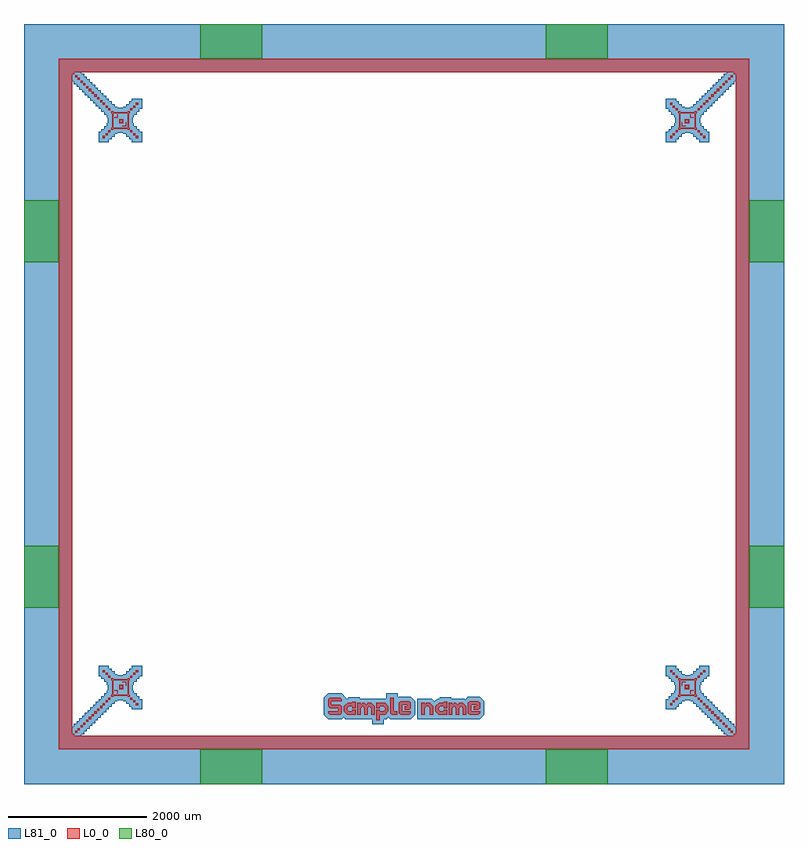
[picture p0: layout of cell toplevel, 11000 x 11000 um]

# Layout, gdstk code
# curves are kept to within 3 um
from math import pi, radians
import gdstk
lib = gdstk.Library(unit=1e-6, precision=1e-09)
def R(c, l, rs):  # rectangles x0, y0, x1, y1
    for r in rs: c.add(gdstk.rectangle(r[:2], r[2:], *l))
def P(c, l, *ps):  # polygons
    for p in ps: c.add(gdstk.Polygon(p, *l))
L0_0 = (0, 0)
L80_0 = (80, 0)
L81_0 = (81, 0)

rectangle = lib.new_cell('rectangle')
R(rectangle, L80_0, [(0,0,900,500)])

pcb_pad = lib.new_cell('PCB pad')
pcb_pad.add(gdstk.Reference(rectangle, (-500,2950), rotation=3*pi/2))

rectangle003 = lib.new_cell('rectangle003')
R(rectangle003, L80_0, [(0,0,900,500)])

pcb_pad002 = lib.new_cell('PCB pad002')
pcb_pad002.add(gdstk.Reference(rectangle003, (2050,-500)))

rectangle005 = lib.new_cell('rectangle005')
R(rectangle005, L80_0, [(0,0,900,500)])

pcb_pad004 = lib.new_cell('PCB pad004')
pcb_pad004.add(gdstk.Reference(rectangle005, (7050,-500)))

rectangle007 = lib.new_cell('rectangle007')
R(rectangle007, L80_0, [(0,0,900,500)])

pcb_pad006 = lib.new_cell('PCB pad006')
pcb_pad006.add(gdstk.Reference(rectangle007, (10500,2050), rotation=pi/2))

rectangle009 = lib.new_cell('rectangle009')
R(rectangle009, L80_0, [(0,0,900,500)])

pcb_pad008 = lib.new_cell('PCB pad008')
pcb_pad008.add(gdstk.Reference(rectangle009, (10500,7050), rotation=pi/2))

rectangle011 = lib.new_cell('rectangle011')
R(rectangle011, L80_0, [(0,0,900,500)])

pcb_pad010 = lib.new_cell('PCB pad010')
pcb_pad010.add(gdstk.Reference(rectangle011, (7950,10500), rotation=pi))

rectangle013 = lib.new_cell('rectangle013')
R(rectangle013, L80_0, [(0,0,900,500)])

pcb_pad012 = lib.new_cell('PCB pad012')
pcb_pad012.add(gdstk.Reference(rectangle013, (2950,10500), rotation=pi))

rectangle015 = lib.new_cell('rectangle015')
R(rectangle015, L80_0, [(0,0,900,500)])

pcb_pad014 = lib.new_cell('PCB pad014')
pcb_pad014.add(gdstk.Reference(rectangle015, (-500,7950), rotation=3*pi/2))

text = lib.new_cell('text')
P(text, L0_0, [(-900,200),(-1050,200),(-1050,150),(-925,150),(-900,125),(-900,25),(-925,0),(-1075,0),(-1100,25),(-1100,50),(-950,50),(-950,100),(-1075,100),(-1100,125),(-1100,225),(-1075,250),(-925,250),(-900,225)],
  [(-700,0),(-825,0),(-875,50),(-875,125),(-816.5,175),(-750,175),(-750,193.75),(-700,193.75),(-700,100),(-750,100),(-750,125),(-800,125),(-825,100),(-825,75),(-800,50),(-750,50),(-750,75),(-700,75)],
  [(-575,100),(-600,125),(-625,100),(-625,0),(-675,0),(-675,175),(-625,175),(-625,150),(-600,175),(-575,175),(-550,150),(-525,175),(-475,175),(-425,125),(-425,0),(-475,0),(-475,100),(-500,125),(-525,100),(-525,0),(-575,0)],
  [(-400,175),(-275,175),(-225,125),(-225,50),(-275,0),(-350,0),(-350,-75),(-400,-75),(-400,75),(-350,75),(-350,50),(-300,50),(-275,75),(-275,100),(-300,125),(-350,125),(-350,100),(-400,100)],
  [(-100,0),(-175,0),(-200,25),(-200,250),(-150,250),(-150,50),(-100,50),(-100,0)],
  [(-50,0),(-75,25),(-75,175),(-50,200),(75,200),(100,175),(100,100),(75,75),(10,75),(10,125),(50,125),(50,150),(-25,150),(-25,50),(100,50),(100,25),(75,0)],
  [(375,0),(375,100),(350,125),(325,125),(300,100),(300,0),(250,0),(250,175),(300,175),(300,150),(325,175),(375,175),(425,125),(425,0)],
  [(625,0),(500,0),(450,50),(450,125),(508.5,175),(575,175),(575,193.75),(625,193.75),(625,100),(575,100),(575,125),(525,125),(500,100),(500,75),(525,50),(575,50),(575,75),(625,75)],
  [(750,100),(725,125),(700,100),(700,0),(650,0),(650,175),(700,175),(700,150),(725,175),(750,175),(775,150),(800,175),(850,175),(900,125),(900,0),(850,0),(850,100),(825,125),(800,100),(800,0),(750,0)],
  [(950,0),(925,25),(925,175),(950,200),(1075,200),(1100,175),(1100,100),(1075,75),(1010,75),(1010,125),(1050,125),(1050,150),(975,150),(975,50),(1100,50),(1100,25),(1075,0)])

offset = lib.new_cell('offset')
P(offset, L81_0, [(5160,500.147),(5160,699.853),(5099.853,760),(4925.147,760),(4910,744.853),(4910,810),(4740,810),(4740,735),(4360,735),(4360,753.75),(4190,753.75),(4190,735),(4160,733.844),(4160,749.853),(4099.853,810),(3900.147,810),(3840,749.853),(3840,500.147),(3900.147,440),(4099.853,440),(4125,465.147),(4150.147,440),(4540,440),(4540,365),(4710,365),(4710,440),(4749.853,440),(4775,465.147),(4800.147,440),(5099.853,440)],
  [(6099.853,760),(5925.147,760),(5887.5,722.353),(5874.853,735),(5685,735),(5685,753.75),(5515,753.75),(5515,735),(5486.353,735),(5439.714,695.138),(5399.853,735),(5190,735),(5190,440),(6099.853,440),(6160,500.147),(6160,699.853)])

sample_name = lib.new_cell('Sample name')
sample_name.add(gdstk.Reference(text, (5000,500)))
sample_name.add(gdstk.Reference(offset, (0,0)))

boolean = lib.new_cell('boolean')
P(boolean, L0_0, [(5000,5000),(-5000,5000),(-5000,-4800),(-4800,-4800),(-4800,4800),(4800,4800),(4800,-4800),(-4800,-4800),(-5000,-4800),(-5000,-5000),(5000,-5000)])

boolean016 = lib.new_cell('boolean016')
P(boolean016, L81_0, [(5500,5500),(-5500,5500),(-5500,-4800),(-4800,-4800),(-4800,4800),(4800,4800),(4800,-4800),(-4800,-4800),(-5500,-4800),(-5500,-5500),(5500,-5500)])

dicing_reference = lib.new_cell('Dicing reference')
dicing_reference.add(gdstk.Reference(boolean, (0,0)))
dicing_reference.add(gdstk.Reference(boolean016, (0,0)))

rectangle017 = lib.new_cell('rectangle017')
R(rectangle017, L0_0, [(0,0,30,30)])

rectangle018 = lib.new_cell('rectangle018')
R(rectangle018, L0_0, [(40,40,70,70)])

rectangle019 = lib.new_cell('rectangle019')
R(rectangle019, L0_0, [(80,80,110,110)])

rectangle020 = lib.new_cell('rectangle020')
R(rectangle020, L0_0, [(120,120,150,150)])

rectangle021 = lib.new_cell('rectangle021')
R(rectangle021, L0_0, [(160,160,190,190)])

rectangle022 = lib.new_cell('rectangle022')
R(rectangle022, L0_0, [(200,200,230,230)])

rectangle023 = lib.new_cell('rectangle023')
R(rectangle023, L0_0, [(240,240,270,270)])

rectangle024 = lib.new_cell('rectangle024')
R(rectangle024, L0_0, [(280,280,310,310)])

rectangle025 = lib.new_cell('rectangle025')
R(rectangle025, L0_0, [(320,320,350,350)])

rectangle026 = lib.new_cell('rectangle026')
R(rectangle026, L0_0, [(360,360,390,390)])

rectangle027 = lib.new_cell('rectangle027')
R(rectangle027, L0_0, [(400,400,430,430)])

rectangle028 = lib.new_cell('rectangle028')
R(rectangle028, L0_0, [(440,440,470,470)])

rectangle029 = lib.new_cell('rectangle029')
R(rectangle029, L0_0, [(480,480,510,510)])

rectangle030 = lib.new_cell('rectangle030')
R(rectangle030, L0_0, [(520,520,550,550)])

rectangle031 = lib.new_cell('rectangle031')
R(rectangle031, L0_0, [(560,560,590,590)])

rectangle032 = lib.new_cell('rectangle032')
R(rectangle032, L0_0, [(800,800,830,830)])

rectangle033 = lib.new_cell('rectangle033')
R(rectangle033, L0_0, [(840,840,870,870)])

rectangle034 = lib.new_cell('rectangle034')
R(rectangle034, L0_0, [(880,880,910,910)])

rectangle035 = lib.new_cell('rectangle035')
R(rectangle035, L0_0, [(920,920,950,950)])

rectangle036 = lib.new_cell('rectangle036')
R(rectangle036, L0_0, [(800,800,830,830)])

rectangle037 = lib.new_cell('rectangle037')
R(rectangle037, L0_0, [(840,840,870,870)])

rectangle038 = lib.new_cell('rectangle038')
R(rectangle038, L0_0, [(880,880,910,910)])

rectangle039 = lib.new_cell('rectangle039')
R(rectangle039, L0_0, [(920,920,950,950)])

rectangle040 = lib.new_cell('rectangle040')
R(rectangle040, L0_0, [(800,560,830,590)])

rectangle041 = lib.new_cell('rectangle041')
R(rectangle041, L0_0, [(840,520,870,550)])

rectangle042 = lib.new_cell('rectangle042')
R(rectangle042, L0_0, [(880,480,910,510)])

rectangle043 = lib.new_cell('rectangle043')
R(rectangle043, L0_0, [(920,440,950,470)])

rectangle044 = lib.new_cell('rectangle044')
R(rectangle044, L0_0, [(560,800,590,830)])

rectangle045 = lib.new_cell('rectangle045')
R(rectangle045, L0_0, [(520,840,550,870)])

rectangle046 = lib.new_cell('rectangle046')
R(rectangle046, L0_0, [(480,880,510,910)])

rectangle047 = lib.new_cell('rectangle047')
R(rectangle047, L0_0, [(440,920,470,950)])

boolean048 = lib.new_cell('boolean048')
P(boolean048, L0_0, [(815,815),(575,815),(575,590),(590,590),(590,800),(800,800),(800,590),(590,590),(575,590),(575,575),(815,575)])

rectangle050 = lib.new_cell('rectangle050')

rectangle051 = lib.new_cell('rectangle051')

union = lib.new_cell('union')
P(union, L0_0, [(0.75,-0.75),(6,-0.75),(6,0.75),(0.75,0.75),(0.75,6),(-0.75,6),(-0.75,0.75),(-6,0.75),(-6,-0.75),(-0.75,-0.75),(-0.75,-6),(0.75,-6)])

alignment_cross = lib.new_cell('Alignment Cross')
alignment_cross.add(gdstk.Reference(rectangle050, (709.25,704)))
alignment_cross.add(gdstk.Reference(rectangle051, (704,709.25)))
alignment_cross.add(gdstk.Reference(union, (710,710)))

boolean049 = lib.new_cell('boolean049')
P(boolean049, L0_0, [(735,735),(675,735),(675,685),(685,685),(685,695),(695,695),(695,725),(725,725),(725,695),(695,695),(685,695),(695,695),(695,685),(685,685),(675,685),(675,675),(735,675)])
boolean049.add(gdstk.Reference(alignment_cross, (0,0)))

c_l = lib.new_cell('L')
P(c_l, L0_0, [(780,780),(725,780),(725,770),(770,770),(770,725),(780,725),(780,780)])

l052 = lib.new_cell('L052')
P(l052, L0_0, [(660,660),(605,660),(605,650),(650,650),(650,605),(660,605),(660,660)])

offset053 = lib.new_cell('offset053')
P(offset053, L81_0, [(90,-20),(130,-20),(130,20),(170,20),(170,60),(210,60),(210,100),(250,100),(250,140),(290,140),(290,180),(330,180),(330,220),(370,220),(370,260),(410,260),(410,300),(450,300),(450,340),(490,340),(490,380),(530,380),(530,420),(570,420),(570,460),(610,460),(610,500),(650,500),(650,515),(740,515),(740,500),(780,500),(780,460),(820,460),(820,420),(860,420),(860,380),(1010,380),(1010,530),(970,530),(970,570),(930,570),(930,610),(890,610),(890,650),(875,650),(875,740),(890,740),(890,780),(930,780),(930,820),(970,820),(970,860),(1010,860),(1010,1010),(860,1010),(860,970),(820,970),(820,930),(780,930),(780,890),(740,890),(740,875),(650,875),(650,890),(610,890),(610,930),(570,930),(570,970),(530,970),(530,1010),(380,1010),(380,860),(420,860),(420,820),(460,820),(460,780),(500,780),(500,740),(515,740),(515,650),(500,650),(500,610),(460,610),(460,570),(420,570),(420,530),(380,530),(380,490),(340,490),(340,450),(300,450),(300,410),(260,410),(260,370),(220,370),(220,330),(180,330),(180,290),(140,290),(140,250),(100,250),(100,210),(60,210),(60,170),(20,170),(20,130),(-20,130),(-20,90),(-60,90),(-60,-60),(90,-60)])

corner_mark = lib.new_cell('Corner mark')
corner_mark.add(gdstk.Reference(rectangle017, (-4800,-4800)))
corner_mark.add(gdstk.Reference(rectangle018, (-4800,-4800)))
corner_mark.add(gdstk.Reference(rectangle019, (-4800,-4800)))
corner_mark.add(gdstk.Reference(rectangle020, (-4800,-4800)))
corner_mark.add(gdstk.Reference(rectangle021, (-4800,-4800)))
corner_mark.add(gdstk.Reference(rectangle022, (-4800,-4800)))
corner_mark.add(gdstk.Reference(rectangle023, (-4800,-4800)))
corner_mark.add(gdstk.Reference(rectangle024, (-4800,-4800)))
corner_mark.add(gdstk.Reference(rectangle025, (-4800,-4800)))
corner_mark.add(gdstk.Reference(rectangle026, (-4800,-4800)))
corner_mark.add(gdstk.Reference(rectangle027, (-4800,-4800)))
corner_mark.add(gdstk.Reference(rectangle028, (-4800,-4800)))
corner_mark.add(gdstk.Reference(rectangle029, (-4800,-4800)))
corner_mark.add(gdstk.Reference(rectangle030, (-4800,-4800)))
corner_mark.add(gdstk.Reference(rectangle031, (-4800,-4800)))
corner_mark.add(gdstk.Reference(rectangle032, (-4800,-4800)))
corner_mark.add(gdstk.Reference(rectangle033, (-4800,-4800)))
corner_mark.add(gdstk.Reference(rectangle034, (-4800,-4800)))
corner_mark.add(gdstk.Reference(rectangle035, (-4800,-4800)))
corner_mark.add(gdstk.Reference(rectangle036, (-4800,-4800)))
corner_mark.add(gdstk.Reference(rectangle037, (-4800,-4800)))
corner_mark.add(gdstk.Reference(rectangle038, (-4800,-4800)))
corner_mark.add(gdstk.Reference(rectangle039, (-4800,-4800)))
corner_mark.add(gdstk.Reference(rectangle040, (-4800,-4800)))
corner_mark.add(gdstk.Reference(rectangle041, (-4800,-4800)))
corner_mark.add(gdstk.Reference(rectangle042, (-4800,-4800)))
corner_mark.add(gdstk.Reference(rectangle043, (-4800,-4800)))
corner_mark.add(gdstk.Reference(rectangle044, (-4800,-4800)))
corner_mark.add(gdstk.Reference(rectangle045, (-4800,-4800)))
corner_mark.add(gdstk.Reference(rectangle046, (-4800,-4800)))
corner_mark.add(gdstk.Reference(rectangle047, (-4800,-4800)))
corner_mark.add(gdstk.Reference(boolean048, (-4800,-4800)))
corner_mark.add(gdstk.Reference(boolean049, (-4800,-4800)))
corner_mark.add(gdstk.Reference(c_l, (-4800,-4800)))
corner_mark.add(gdstk.Reference(l052, (-4800,-4800)))
corner_mark.add(gdstk.Reference(offset053, (-4800,-4800)))

rectangle055 = lib.new_cell('rectangle055')
R(rectangle055, L0_0, [(0,0,30,30)])

rectangle056 = lib.new_cell('rectangle056')
R(rectangle056, L0_0, [(40,40,70,70)])

rectangle057 = lib.new_cell('rectangle057')
R(rectangle057, L0_0, [(80,80,110,110)])

rectangle058 = lib.new_cell('rectangle058')
R(rectangle058, L0_0, [(120,120,150,150)])

rectangle059 = lib.new_cell('rectangle059')
R(rectangle059, L0_0, [(160,160,190,190)])

rectangle060 = lib.new_cell('rectangle060')
R(rectangle060, L0_0, [(200,200,230,230)])

rectangle061 = lib.new_cell('rectangle061')
R(rectangle061, L0_0, [(240,240,270,270)])

rectangle062 = lib.new_cell('rectangle062')
R(rectangle062, L0_0, [(280,280,310,310)])

rectangle063 = lib.new_cell('rectangle063')
R(rectangle063, L0_0, [(320,320,350,350)])

rectangle064 = lib.new_cell('rectangle064')
R(rectangle064, L0_0, [(360,360,390,390)])

rectangle065 = lib.new_cell('rectangle065')
R(rectangle065, L0_0, [(400,400,430,430)])

rectangle066 = lib.new_cell('rectangle066')
R(rectangle066, L0_0, [(440,440,470,470)])

rectangle067 = lib.new_cell('rectangle067')
R(rectangle067, L0_0, [(480,480,510,510)])

rectangle068 = lib.new_cell('rectangle068')
R(rectangle068, L0_0, [(520,520,550,550)])

rectangle069 = lib.new_cell('rectangle069')
R(rectangle069, L0_0, [(560,560,590,590)])

rectangle070 = lib.new_cell('rectangle070')
R(rectangle070, L0_0, [(800,800,830,830)])

rectangle071 = lib.new_cell('rectangle071')
R(rectangle071, L0_0, [(840,840,870,870)])

rectangle072 = lib.new_cell('rectangle072')
R(rectangle072, L0_0, [(880,880,910,910)])

rectangle073 = lib.new_cell('rectangle073')
R(rectangle073, L0_0, [(920,920,950,950)])

rectangle074 = lib.new_cell('rectangle074')
R(rectangle074, L0_0, [(800,800,830,830)])

rectangle075 = lib.new_cell('rectangle075')
R(rectangle075, L0_0, [(840,840,870,870)])

rectangle076 = lib.new_cell('rectangle076')
R(rectangle076, L0_0, [(880,880,910,910)])

rectangle077 = lib.new_cell('rectangle077')
R(rectangle077, L0_0, [(920,920,950,950)])

rectangle078 = lib.new_cell('rectangle078')
R(rectangle078, L0_0, [(800,560,830,590)])

rectangle079 = lib.new_cell('rectangle079')
R(rectangle079, L0_0, [(840,520,870,550)])

rectangle080 = lib.new_cell('rectangle080')
R(rectangle080, L0_0, [(880,480,910,510)])

rectangle081 = lib.new_cell('rectangle081')
R(rectangle081, L0_0, [(920,440,950,470)])

rectangle082 = lib.new_cell('rectangle082')
R(rectangle082, L0_0, [(560,800,590,830)])

rectangle083 = lib.new_cell('rectangle083')
R(rectangle083, L0_0, [(520,840,550,870)])

rectangle084 = lib.new_cell('rectangle084')
R(rectangle084, L0_0, [(480,880,510,910)])

rectangle085 = lib.new_cell('rectangle085')
R(rectangle085, L0_0, [(440,920,470,950)])

boolean086 = lib.new_cell('boolean086')
P(boolean086, L0_0, [(815,815),(575,815),(575,590),(590,590),(590,800),(800,800),(800,590),(590,590),(575,590),(575,575),(815,575)])

rectangle089 = lib.new_cell('rectangle089')

rectangle090 = lib.new_cell('rectangle090')

union091 = lib.new_cell('union091')
P(union091, L0_0, [(0.75,-0.75),(6,-0.75),(6,0.75),(0.75,0.75),(0.75,6),(-0.75,6),(-0.75,0.75),(-6,0.75),(-6,-0.75),(-0.75,-0.75),(-0.75,-6),(0.75,-6)])

alignment_cross088 = lib.new_cell('Alignment Cross088')
alignment_cross088.add(gdstk.Reference(rectangle089, (709.25,704)))
alignment_cross088.add(gdstk.Reference(rectangle090, (704,709.25)))
alignment_cross088.add(gdstk.Reference(union091, (710,710)))

boolean087 = lib.new_cell('boolean087')
P(boolean087, L0_0, [(735,735),(675,735),(675,685),(685,685),(685,695),(695,695),(695,725),(725,725),(725,695),(695,695),(685,695),(695,695),(695,685),(685,685),(675,685),(675,675),(735,675)])
boolean087.add(gdstk.Reference(alignment_cross088, (0,0)))

l092 = lib.new_cell('L092')
P(l092, L0_0, [(780,780),(725,780),(725,770),(770,770),(770,725),(780,725),(780,780)])

l093 = lib.new_cell('L093')
P(l093, L0_0, [(660,660),(605,660),(605,650),(650,650),(650,605),(660,605),(660,660)])

offset094 = lib.new_cell('offset094')
P(offset094, L81_0, [(90,-20),(130,-20),(130,20),(170,20),(170,60),(210,60),(210,100),(250,100),(250,140),(290,140),(290,180),(330,180),(330,220),(370,220),(370,260),(410,260),(410,300),(450,300),(450,340),(490,340),(490,380),(530,380),(530,420),(570,420),(570,460),(610,460),(610,500),(650,500),(650,515),(740,515),(740,500),(780,500),(780,460),(820,460),(820,420),(860,420),(860,380),(1010,380),(1010,530),(970,530),(970,570),(930,570),(930,610),(890,610),(890,650),(875,650),(875,740),(890,740),(890,780),(930,780),(930,820),(970,820),(970,860),(1010,860),(1010,1010),(860,1010),(860,970),(820,970),(820,930),(780,930),(780,890),(740,890),(740,875),(650,875),(650,890),(610,890),(610,930),(570,930),(570,970),(530,970),(530,1010),(380,1010),(380,860),(420,860),(420,820),(460,820),(460,780),(500,780),(500,740),(515,740),(515,650),(500,650),(500,610),(460,610),(460,570),(420,570),(420,530),(380,530),(380,490),(340,490),(340,450),(300,450),(300,410),(260,410),(260,370),(220,370),(220,330),(180,330),(180,290),(140,290),(140,250),(100,250),(100,210),(60,210),(60,170),(20,170),(20,130),(-20,130),(-20,90),(-60,90),(-60,-60),(90,-60)])

corner_mark054 = lib.new_cell('Corner mark054')
corner_mark054.add(gdstk.Reference(rectangle055, (4800,-4800), rotation=pi, x_reflection=True))
corner_mark054.add(gdstk.Reference(rectangle056, (4800,-4800), rotation=pi, x_reflection=True))
corner_mark054.add(gdstk.Reference(rectangle057, (4800,-4800), rotation=pi, x_reflection=True))
corner_mark054.add(gdstk.Reference(rectangle058, (4800,-4800), rotation=pi, x_reflection=True))
corner_mark054.add(gdstk.Reference(rectangle059, (4800,-4800), rotation=pi, x_reflection=True))
corner_mark054.add(gdstk.Reference(rectangle060, (4800,-4800), rotation=pi, x_reflection=True))
corner_mark054.add(gdstk.Reference(rectangle061, (4800,-4800), rotation=pi, x_reflection=True))
corner_mark054.add(gdstk.Reference(rectangle062, (4800,-4800), rotation=pi, x_reflection=True))
corner_mark054.add(gdstk.Reference(rectangle063, (4800,-4800), rotation=pi, x_reflection=True))
corner_mark054.add(gdstk.Reference(rectangle064, (4800,-4800), rotation=pi, x_reflection=True))
corner_mark054.add(gdstk.Reference(rectangle065, (4800,-4800), rotation=pi, x_reflection=True))
corner_mark054.add(gdstk.Reference(rectangle066, (4800,-4800), rotation=pi, x_reflection=True))
corner_mark054.add(gdstk.Reference(rectangle067, (4800,-4800), rotation=pi, x_reflection=True))
corner_mark054.add(gdstk.Reference(rectangle068, (4800,-4800), rotation=pi, x_reflection=True))
corner_mark054.add(gdstk.Reference(rectangle069, (4800,-4800), rotation=pi, x_reflection=True))
corner_mark054.add(gdstk.Reference(rectangle070, (4800,-4800), rotation=pi, x_reflection=True))
corner_mark054.add(gdstk.Reference(rectangle071, (4800,-4800), rotation=pi, x_reflection=True))
corner_mark054.add(gdstk.Reference(rectangle072, (4800,-4800), rotation=pi, x_reflection=True))
corner_mark054.add(gdstk.Reference(rectangle073, (4800,-4800), rotation=pi, x_reflection=True))
corner_mark054.add(gdstk.Reference(rectangle074, (4800,-4800), rotation=pi, x_reflection=True))
corner_mark054.add(gdstk.Reference(rectangle075, (4800,-4800), rotation=pi, x_reflection=True))
corner_mark054.add(gdstk.Reference(rectangle076, (4800,-4800), rotation=pi, x_reflection=True))
corner_mark054.add(gdstk.Reference(rectangle077, (4800,-4800), rotation=pi, x_reflection=True))
corner_mark054.add(gdstk.Reference(rectangle078, (4800,-4800), rotation=pi, x_reflection=True))
corner_mark054.add(gdstk.Reference(rectangle079, (4800,-4800), rotation=pi, x_reflection=True))
corner_mark054.add(gdstk.Reference(rectangle080, (4800,-4800), rotation=pi, x_reflection=True))
corner_mark054.add(gdstk.Reference(rectangle081, (4800,-4800), rotation=pi, x_reflection=True))
corner_mark054.add(gdstk.Reference(rectangle082, (4800,-4800), rotation=pi, x_reflection=True))
corner_mark054.add(gdstk.Reference(rectangle083, (4800,-4800), rotation=pi, x_reflection=True))
corner_mark054.add(gdstk.Reference(rectangle084, (4800,-4800), rotation=pi, x_reflection=True))
corner_mark054.add(gdstk.Reference(rectangle085, (4800,-4800), rotation=pi, x_reflection=True))
corner_mark054.add(gdstk.Reference(boolean086, (4800,-4800), rotation=pi, x_reflection=True))
corner_mark054.add(gdstk.Reference(boolean087, (4800,-4800), rotation=pi, x_reflection=True))
corner_mark054.add(gdstk.Reference(l092, (4800,-4800), rotation=pi, x_reflection=True))
corner_mark054.add(gdstk.Reference(l093, (4800,-4800), rotation=pi, x_reflection=True))
corner_mark054.add(gdstk.Reference(offset094, (4800,-4800), rotation=pi, x_reflection=True))

rectangle096 = lib.new_cell('rectangle096')
R(rectangle096, L0_0, [(0,0,30,30)])

rectangle097 = lib.new_cell('rectangle097')
R(rectangle097, L0_0, [(40,40,70,70)])

rectangle098 = lib.new_cell('rectangle098')
R(rectangle098, L0_0, [(80,80,110,110)])

rectangle099 = lib.new_cell('rectangle099')
R(rectangle099, L0_0, [(120,120,150,150)])

rectangle100 = lib.new_cell('rectangle100')
R(rectangle100, L0_0, [(160,160,190,190)])

rectangle101 = lib.new_cell('rectangle101')
R(rectangle101, L0_0, [(200,200,230,230)])

rectangle102 = lib.new_cell('rectangle102')
R(rectangle102, L0_0, [(240,240,270,270)])

rectangle103 = lib.new_cell('rectangle103')
R(rectangle103, L0_0, [(280,280,310,310)])

rectangle104 = lib.new_cell('rectangle104')
R(rectangle104, L0_0, [(320,320,350,350)])

rectangle105 = lib.new_cell('rectangle105')
R(rectangle105, L0_0, [(360,360,390,390)])

rectangle106 = lib.new_cell('rectangle106')
R(rectangle106, L0_0, [(400,400,430,430)])

rectangle107 = lib.new_cell('rectangle107')
R(rectangle107, L0_0, [(440,440,470,470)])

rectangle108 = lib.new_cell('rectangle108')
R(rectangle108, L0_0, [(480,480,510,510)])

rectangle109 = lib.new_cell('rectangle109')
R(rectangle109, L0_0, [(520,520,550,550)])

rectangle110 = lib.new_cell('rectangle110')
R(rectangle110, L0_0, [(560,560,590,590)])

rectangle111 = lib.new_cell('rectangle111')
R(rectangle111, L0_0, [(800,800,830,830)])

rectangle112 = lib.new_cell('rectangle112')
R(rectangle112, L0_0, [(840,840,870,870)])

rectangle113 = lib.new_cell('rectangle113')
R(rectangle113, L0_0, [(880,880,910,910)])

rectangle114 = lib.new_cell('rectangle114')
R(rectangle114, L0_0, [(920,920,950,950)])

rectangle115 = lib.new_cell('rectangle115')
R(rectangle115, L0_0, [(800,800,830,830)])

rectangle116 = lib.new_cell('rectangle116')
R(rectangle116, L0_0, [(840,840,870,870)])

rectangle117 = lib.new_cell('rectangle117')
R(rectangle117, L0_0, [(880,880,910,910)])

rectangle118 = lib.new_cell('rectangle118')
R(rectangle118, L0_0, [(920,920,950,950)])

rectangle119 = lib.new_cell('rectangle119')
R(rectangle119, L0_0, [(800,560,830,590)])

rectangle120 = lib.new_cell('rectangle120')
R(rectangle120, L0_0, [(840,520,870,550)])

rectangle121 = lib.new_cell('rectangle121')
R(rectangle121, L0_0, [(880,480,910,510)])

rectangle122 = lib.new_cell('rectangle122')
R(rectangle122, L0_0, [(920,440,950,470)])

rectangle123 = lib.new_cell('rectangle123')
R(rectangle123, L0_0, [(560,800,590,830)])

rectangle124 = lib.new_cell('rectangle124')
R(rectangle124, L0_0, [(520,840,550,870)])

rectangle125 = lib.new_cell('rectangle125')
R(rectangle125, L0_0, [(480,880,510,910)])

rectangle126 = lib.new_cell('rectangle126')
R(rectangle126, L0_0, [(440,920,470,950)])

boolean127 = lib.new_cell('boolean127')
P(boolean127, L0_0, [(815,815),(575,815),(575,590),(590,590),(590,800),(800,800),(800,590),(590,590),(575,590),(575,575),(815,575)])

rectangle130 = lib.new_cell('rectangle130')

rectangle131 = lib.new_cell('rectangle131')

union132 = lib.new_cell('union132')
P(union132, L0_0, [(0.75,-0.75),(6,-0.75),(6,0.75),(0.75,0.75),(0.75,6),(-0.75,6),(-0.75,0.75),(-6,0.75),(-6,-0.75),(-0.75,-0.75),(-0.75,-6),(0.75,-6)])

alignment_cross129 = lib.new_cell('Alignment Cross129')
alignment_cross129.add(gdstk.Reference(rectangle130, (709.25,704)))
alignment_cross129.add(gdstk.Reference(rectangle131, (704,709.25)))
alignment_cross129.add(gdstk.Reference(union132, (710,710)))

boolean128 = lib.new_cell('boolean128')
P(boolean128, L0_0, [(735,735),(675,735),(675,685),(685,685),(685,695),(695,695),(695,725),(725,725),(725,695),(695,695),(685,695),(695,695),(695,685),(685,685),(675,685),(675,675),(735,675)])
boolean128.add(gdstk.Reference(alignment_cross129, (0,0)))

l133 = lib.new_cell('L133')
P(l133, L0_0, [(780,780),(725,780),(725,770),(770,770),(770,725),(780,725),(780,780)])

l134 = lib.new_cell('L134')
P(l134, L0_0, [(660,660),(605,660),(605,650),(650,650),(650,605),(660,605),(660,660)])

offset135 = lib.new_cell('offset135')
P(offset135, L81_0, [(90,-20),(130,-20),(130,20),(170,20),(170,60),(210,60),(210,100),(250,100),(250,140),(290,140),(290,180),(330,180),(330,220),(370,220),(370,260),(410,260),(410,300),(450,300),(450,340),(490,340),(490,380),(530,380),(530,420),(570,420),(570,460),(610,460),(610,500),(650,500),(650,515),(740,515),(740,500),(780,500),(780,460),(820,460),(820,420),(860,420),(860,380),(1010,380),(1010,530),(970,530),(970,570),(930,570),(930,610),(890,610),(890,650),(875,650),(875,740),(890,740),(890,780),(930,780),(930,820),(970,820),(970,860),(1010,860),(1010,1010),(860,1010),(860,970),(820,970),(820,930),(780,930),(780,890),(740,890),(740,875),(650,875),(650,890),(610,890),(610,930),(570,930),(570,970),(530,970),(530,1010),(380,1010),(380,860),(420,860),(420,820),(460,820),(460,780),(500,780),(500,740),(515,740),(515,650),(500,650),(500,610),(460,610),(460,570),(420,570),(420,530),(380,530),(380,490),(340,490),(340,450),(300,450),(300,410),(260,410),(260,370),(220,370),(220,330),(180,330),(180,290),(140,290),(140,250),(100,250),(100,210),(60,210),(60,170),(20,170),(20,130),(-20,130),(-20,90),(-60,90),(-60,-60),(90,-60)])

corner_mark095 = lib.new_cell('Corner mark095')
corner_mark095.add(gdstk.Reference(rectangle096, (4800,4800), rotation=3*pi/2, x_reflection=True))
corner_mark095.add(gdstk.Reference(rectangle097, (4800,4800), rotation=3*pi/2, x_reflection=True))
corner_mark095.add(gdstk.Reference(rectangle098, (4800,4800), rotation=3*pi/2, x_reflection=True))
corner_mark095.add(gdstk.Reference(rectangle099, (4800,4800), rotation=3*pi/2, x_reflection=True))
corner_mark095.add(gdstk.Reference(rectangle100, (4800,4800), rotation=3*pi/2, x_reflection=True))
corner_mark095.add(gdstk.Reference(rectangle101, (4800,4800), rotation=3*pi/2, x_reflection=True))
corner_mark095.add(gdstk.Reference(rectangle102, (4800,4800), rotation=3*pi/2, x_reflection=True))
corner_mark095.add(gdstk.Reference(rectangle103, (4800,4800), rotation=3*pi/2, x_reflection=True))
corner_mark095.add(gdstk.Reference(rectangle104, (4800,4800), rotation=3*pi/2, x_reflection=True))
corner_mark095.add(gdstk.Reference(rectangle105, (4800,4800), rotation=3*pi/2, x_reflection=True))
corner_mark095.add(gdstk.Reference(rectangle106, (4800,4800), rotation=3*pi/2, x_reflection=True))
corner_mark095.add(gdstk.Reference(rectangle107, (4800,4800), rotation=3*pi/2, x_reflection=True))
corner_mark095.add(gdstk.Reference(rectangle108, (4800,4800), rotation=3*pi/2, x_reflection=True))
corner_mark095.add(gdstk.Reference(rectangle109, (4800,4800), rotation=3*pi/2, x_reflection=True))
corner_mark095.add(gdstk.Reference(rectangle110, (4800,4800), rotation=3*pi/2, x_reflection=True))
corner_mark095.add(gdstk.Reference(rectangle111, (4800,4800), rotation=3*pi/2, x_reflection=True))
corner_mark095.add(gdstk.Reference(rectangle112, (4800,4800), rotation=3*pi/2, x_reflection=True))
corner_mark095.add(gdstk.Reference(rectangle113, (4800,4800), rotation=3*pi/2, x_reflection=True))
corner_mark095.add(gdstk.Reference(rectangle114, (4800,4800), rotation=3*pi/2, x_reflection=True))
corner_mark095.add(gdstk.Reference(rectangle115, (4800,4800), rotation=3*pi/2, x_reflection=True))
corner_mark095.add(gdstk.Reference(rectangle116, (4800,4800), rotation=3*pi/2, x_reflection=True))
corner_mark095.add(gdstk.Reference(rectangle117, (4800,4800), rotation=3*pi/2, x_reflection=True))
corner_mark095.add(gdstk.Reference(rectangle118, (4800,4800), rotation=3*pi/2, x_reflection=True))
corner_mark095.add(gdstk.Reference(rectangle119, (4800,4800), rotation=3*pi/2, x_reflection=True))
corner_mark095.add(gdstk.Reference(rectangle120, (4800,4800), rotation=3*pi/2, x_reflection=True))
corner_mark095.add(gdstk.Reference(rectangle121, (4800,4800), rotation=3*pi/2, x_reflection=True))
corner_mark095.add(gdstk.Reference(rectangle122, (4800,4800), rotation=3*pi/2, x_reflection=True))
corner_mark095.add(gdstk.Reference(rectangle123, (4800,4800), rotation=3*pi/2, x_reflection=True))
corner_mark095.add(gdstk.Reference(rectangle124, (4800,4800), rotation=3*pi/2, x_reflection=True))
corner_mark095.add(gdstk.Reference(rectangle125, (4800,4800), rotation=3*pi/2, x_reflection=True))
corner_mark095.add(gdstk.Reference(rectangle126, (4800,4800), rotation=3*pi/2, x_reflection=True))
corner_mark095.add(gdstk.Reference(boolean127, (4800,4800), rotation=3*pi/2, x_reflection=True))
corner_mark095.add(gdstk.Reference(boolean128, (4800,4800), rotation=3*pi/2, x_reflection=True))
corner_mark095.add(gdstk.Reference(l133, (4800,4800), rotation=3*pi/2, x_reflection=True))
corner_mark095.add(gdstk.Reference(l134, (4800,4800), rotation=3*pi/2, x_reflection=True))
corner_mark095.add(gdstk.Reference(offset135, (4800,4800), rotation=3*pi/2, x_reflection=True))

rectangle137 = lib.new_cell('rectangle137')
R(rectangle137, L0_0, [(0,0,30,30)])

rectangle138 = lib.new_cell('rectangle138')
R(rectangle138, L0_0, [(40,40,70,70)])

rectangle139 = lib.new_cell('rectangle139')
R(rectangle139, L0_0, [(80,80,110,110)])

rectangle140 = lib.new_cell('rectangle140')
R(rectangle140, L0_0, [(120,120,150,150)])

rectangle141 = lib.new_cell('rectangle141')
R(rectangle141, L0_0, [(160,160,190,190)])

rectangle142 = lib.new_cell('rectangle142')
R(rectangle142, L0_0, [(200,200,230,230)])

rectangle143 = lib.new_cell('rectangle143')
R(rectangle143, L0_0, [(240,240,270,270)])

rectangle144 = lib.new_cell('rectangle144')
R(rectangle144, L0_0, [(280,280,310,310)])

rectangle145 = lib.new_cell('rectangle145')
R(rectangle145, L0_0, [(320,320,350,350)])

rectangle146 = lib.new_cell('rectangle146')
R(rectangle146, L0_0, [(360,360,390,390)])

rectangle147 = lib.new_cell('rectangle147')
R(rectangle147, L0_0, [(400,400,430,430)])

rectangle148 = lib.new_cell('rectangle148')
R(rectangle148, L0_0, [(440,440,470,470)])

rectangle149 = lib.new_cell('rectangle149')
R(rectangle149, L0_0, [(480,480,510,510)])

rectangle150 = lib.new_cell('rectangle150')
R(rectangle150, L0_0, [(520,520,550,550)])

rectangle151 = lib.new_cell('rectangle151')
R(rectangle151, L0_0, [(560,560,590,590)])

rectangle152 = lib.new_cell('rectangle152')
R(rectangle152, L0_0, [(800,800,830,830)])

rectangle153 = lib.new_cell('rectangle153')
R(rectangle153, L0_0, [(840,840,870,870)])

rectangle154 = lib.new_cell('rectangle154')
R(rectangle154, L0_0, [(880,880,910,910)])

rectangle155 = lib.new_cell('rectangle155')
R(rectangle155, L0_0, [(920,920,950,950)])

rectangle156 = lib.new_cell('rectangle156')
R(rectangle156, L0_0, [(800,800,830,830)])

rectangle157 = lib.new_cell('rectangle157')
R(rectangle157, L0_0, [(840,840,870,870)])

rectangle158 = lib.new_cell('rectangle158')
R(rectangle158, L0_0, [(880,880,910,910)])

rectangle159 = lib.new_cell('rectangle159')
R(rectangle159, L0_0, [(920,920,950,950)])

rectangle160 = lib.new_cell('rectangle160')
R(rectangle160, L0_0, [(800,560,830,590)])

rectangle161 = lib.new_cell('rectangle161')
R(rectangle161, L0_0, [(840,520,870,550)])

rectangle162 = lib.new_cell('rectangle162')
R(rectangle162, L0_0, [(880,480,910,510)])

rectangle163 = lib.new_cell('rectangle163')
R(rectangle163, L0_0, [(920,440,950,470)])

rectangle164 = lib.new_cell('rectangle164')
R(rectangle164, L0_0, [(560,800,590,830)])

rectangle165 = lib.new_cell('rectangle165')
R(rectangle165, L0_0, [(520,840,550,870)])

rectangle166 = lib.new_cell('rectangle166')
R(rectangle166, L0_0, [(480,880,510,910)])

rectangle167 = lib.new_cell('rectangle167')
R(rectangle167, L0_0, [(440,920,470,950)])

boolean168 = lib.new_cell('boolean168')
P(boolean168, L0_0, [(815,815),(575,815),(575,590),(590,590),(590,800),(800,800),(800,590),(590,590),(575,590),(575,575),(815,575)])

rectangle171 = lib.new_cell('rectangle171')

rectangle172 = lib.new_cell('rectangle172')

union173 = lib.new_cell('union173')
P(union173, L0_0, [(0.75,-0.75),(6,-0.75),(6,0.75),(0.75,0.75),(0.75,6),(-0.75,6),(-0.75,0.75),(-6,0.75),(-6,-0.75),(-0.75,-0.75),(-0.75,-6),(0.75,-6)])

alignment_cross170 = lib.new_cell('Alignment Cross170')
alignment_cross170.add(gdstk.Reference(rectangle171, (709.25,704)))
alignment_cross170.add(gdstk.Reference(rectangle172, (704,709.25)))
alignment_cross170.add(gdstk.Reference(union173, (710,710)))

boolean169 = lib.new_cell('boolean169')
P(boolean169, L0_0, [(735,735),(675,735),(675,685),(685,685),(685,695),(695,695),(695,725),(725,725),(725,695),(695,695),(685,695),(695,695),(695,685),(685,685),(675,685),(675,675),(735,675)])
boolean169.add(gdstk.Reference(alignment_cross170, (0,0)))

l174 = lib.new_cell('L174')
P(l174, L0_0, [(780,780),(725,780),(725,770),(770,770),(770,725),(780,725),(780,780)])

l175 = lib.new_cell('L175')
P(l175, L0_0, [(660,660),(605,660),(605,650),(650,650),(650,605),(660,605),(660,660)])

offset176 = lib.new_cell('offset176')
P(offset176, L81_0, [(90,-20),(130,-20),(130,20),(170,20),(170,60),(210,60),(210,100),(250,100),(250,140),(290,140),(290,180),(330,180),(330,220),(370,220),(370,260),(410,260),(410,300),(450,300),(450,340),(490,340),(490,380),(530,380),(530,420),(570,420),(570,460),(610,460),(610,500),(650,500),(650,515),(740,515),(740,500),(780,500),(780,460),(820,460),(820,420),(860,420),(860,380),(1010,380),(1010,530),(970,530),(970,570),(930,570),(930,610),(890,610),(890,650),(875,650),(875,740),(890,740),(890,780),(930,780),(930,820),(970,820),(970,860),(1010,860),(1010,1010),(860,1010),(860,970),(820,970),(820,930),(780,930),(780,890),(740,890),(740,875),(650,875),(650,890),(610,890),(610,930),(570,930),(570,970),(530,970),(530,1010),(380,1010),(380,860),(420,860),(420,820),(460,820),(460,780),(500,780),(500,740),(515,740),(515,650),(500,650),(500,610),(460,610),(460,570),(420,570),(420,530),(380,530),(380,490),(340,490),(340,450),(300,450),(300,410),(260,410),(260,370),(220,370),(220,330),(180,330),(180,290),(140,290),(140,250),(100,250),(100,210),(60,210),(60,170),(20,170),(20,130),(-20,130),(-20,90),(-60,90),(-60,-60),(90,-60)])

corner_mark136 = lib.new_cell('Corner mark136')
corner_mark136.add(gdstk.Reference(rectangle137, (-4800,4800), x_reflection=True))
corner_mark136.add(gdstk.Reference(rectangle138, (-4800,4800), x_reflection=True))
corner_mark136.add(gdstk.Reference(rectangle139, (-4800,4800), x_reflection=True))
corner_mark136.add(gdstk.Reference(rectangle140, (-4800,4800), x_reflection=True))
corner_mark136.add(gdstk.Reference(rectangle141, (-4800,4800), x_reflection=True))
corner_mark136.add(gdstk.Reference(rectangle142, (-4800,4800), x_reflection=True))
corner_mark136.add(gdstk.Reference(rectangle143, (-4800,4800), x_reflection=True))
corner_mark136.add(gdstk.Reference(rectangle144, (-4800,4800), x_reflection=True))
corner_mark136.add(gdstk.Reference(rectangle145, (-4800,4800), x_reflection=True))
corner_mark136.add(gdstk.Reference(rectangle146, (-4800,4800), x_reflection=True))
corner_mark136.add(gdstk.Reference(rectangle147, (-4800,4800), x_reflection=True))
corner_mark136.add(gdstk.Reference(rectangle148, (-4800,4800), x_reflection=True))
corner_mark136.add(gdstk.Reference(rectangle149, (-4800,4800), x_reflection=True))
corner_mark136.add(gdstk.Reference(rectangle150, (-4800,4800), x_reflection=True))
corner_mark136.add(gdstk.Reference(rectangle151, (-4800,4800), x_reflection=True))
corner_mark136.add(gdstk.Reference(rectangle152, (-4800,4800), x_reflection=True))
corner_mark136.add(gdstk.Reference(rectangle153, (-4800,4800), x_reflection=True))
corner_mark136.add(gdstk.Reference(rectangle154, (-4800,4800), x_reflection=True))
corner_mark136.add(gdstk.Reference(rectangle155, (-4800,4800), x_reflection=True))
corner_mark136.add(gdstk.Reference(rectangle156, (-4800,4800), x_reflection=True))
corner_mark136.add(gdstk.Reference(rectangle157, (-4800,4800), x_reflection=True))
corner_mark136.add(gdstk.Reference(rectangle158, (-4800,4800), x_reflection=True))
corner_mark136.add(gdstk.Reference(rectangle159, (-4800,4800), x_reflection=True))
corner_mark136.add(gdstk.Reference(rectangle160, (-4800,4800), x_reflection=True))
corner_mark136.add(gdstk.Reference(rectangle161, (-4800,4800), x_reflection=True))
corner_mark136.add(gdstk.Reference(rectangle162, (-4800,4800), x_reflection=True))
corner_mark136.add(gdstk.Reference(rectangle163, (-4800,4800), x_reflection=True))
corner_mark136.add(gdstk.Reference(rectangle164, (-4800,4800), x_reflection=True))
corner_mark136.add(gdstk.Reference(rectangle165, (-4800,4800), x_reflection=True))
corner_mark136.add(gdstk.Reference(rectangle166, (-4800,4800), x_reflection=True))
corner_mark136.add(gdstk.Reference(rectangle167, (-4800,4800), x_reflection=True))
corner_mark136.add(gdstk.Reference(boolean168, (-4800,4800), x_reflection=True))
corner_mark136.add(gdstk.Reference(boolean169, (-4800,4800), x_reflection=True))
corner_mark136.add(gdstk.Reference(l174, (-4800,4800), x_reflection=True))
corner_mark136.add(gdstk.Reference(l175, (-4800,4800), x_reflection=True))
corner_mark136.add(gdstk.Reference(offset176, (-4800,4800), x_reflection=True))

toplevel = lib.new_cell('toplevel')
toplevel.add(gdstk.Reference(pcb_pad, (-5000,-5000)))
toplevel.add(gdstk.Reference(pcb_pad002, (-5000,-5000)))
toplevel.add(gdstk.Reference(pcb_pad004, (-5000,-5000)))
toplevel.add(gdstk.Reference(pcb_pad006, (-5000,-5000)))
toplevel.add(gdstk.Reference(pcb_pad008, (-5000,-5000)))
toplevel.add(gdstk.Reference(pcb_pad010, (-5000,-5000)))
toplevel.add(gdstk.Reference(pcb_pad012, (-5000,-5000)))
toplevel.add(gdstk.Reference(pcb_pad014, (-5000,-5000)))
toplevel.add(gdstk.Reference(sample_name, (-5000,-5000)))
toplevel.add(gdstk.Reference(dicing_reference, (0,0)))
toplevel.add(gdstk.Reference(corner_mark, (0,0)))
toplevel.add(gdstk.Reference(corner_mark054, (0,0)))
toplevel.add(gdstk.Reference(corner_mark095, (0,0)))
toplevel.add(gdstk.Reference(corner_mark136, (0,0)))

lib.write_gds('toplevel.gds')
